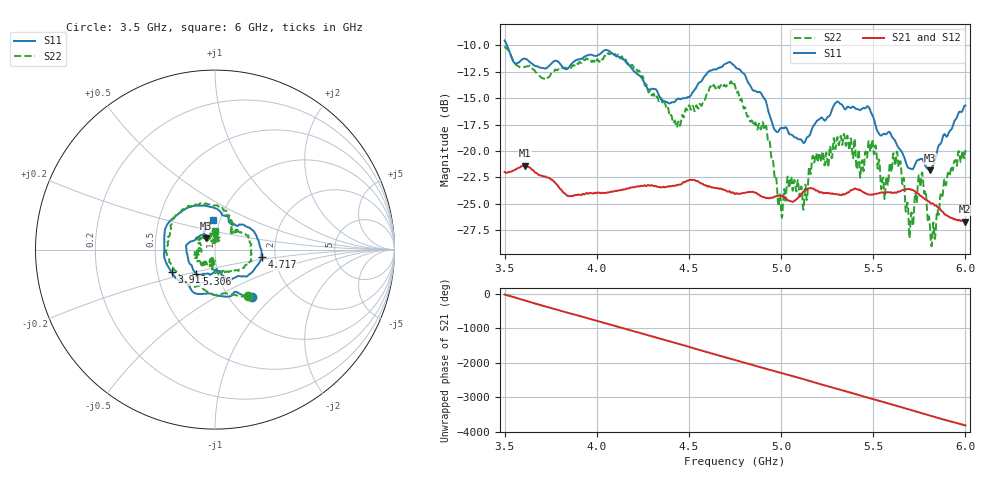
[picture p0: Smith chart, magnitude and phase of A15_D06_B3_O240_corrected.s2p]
! Created with skrf 1.9.0 (http://scikit-rf.org).
# Hz S RI R 50.0
!freq ReS11 ImS11 ReS21 ImS21 ReS12 ImS12 ReS22 ImS22
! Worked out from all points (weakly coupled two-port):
!   1601 points, 3.5 GHz to 6 GHz, reference 50 ohm
!   highest |S21| = -21.39 dB at 3.611 GHz (marker M1); lowest = -26.7 dB at 5.995 GHz (marker M2)
!   lowest |S11| = -21.9 dB at 5.808 GHz (marker M3), VSWR 1.18, Z = 44.9 + j5.73 ohm
!   |S11| at or under -10 dB: 3.513 GHz to end of sweep
!   |S22| runs from -29.0 to -10.1 dB; largest |S21 - S12| = 0.00091
!   S11 on the Smith chart (normalised r, x): 3.5 GHz: 1.26, -0.75; 3.913 GHz: 0.59, -0.16; 4.717 GHz: 1.70, -0.15; 5.306 GHz: 0.78, -0.22; 6 GHz: 0.93, +0.31
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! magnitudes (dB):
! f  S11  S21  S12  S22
! 3.5 GHz  -9.5  -22.0  -22.0  -10.1
! 3.611 GHz  -11.3  -21.4  -21.4  -12.0
! 3.913 GHz  -11.3  -24.2  -24.1  -11.6
! 3.917 GHz  -11.3  -24.2  -24.1  -11.7
! 4.127 GHz  -11.1  -23.7  -23.7  -11.2
! 4.334 GHz  -14.6  -23.4  -23.4  -15.2
! 4.442 GHz  -15.0  -23.2  -23.2  -17.2
! 4.717 GHz  -11.6  -23.8  -23.9  -13.6
! 4.75 GHz  -12.0  -24.1  -24.0  -13.8
! 4.911 GHz  -15.0  -24.4  -24.4  -18.0
! 4.995 GHz  -17.9  -24.3  -24.2  -24.1
! 5.045 GHz  -18.4  -24.7  -24.7  -23.5
! 5.13 GHz  -19.1  -23.8  -23.7  -23.4
! 5.167 GHz  -17.9  -23.6  -23.5  -21.0
! 5.306 GHz  -15.3  -24.1  -24.1  -18.7
! 5.584 GHz  -18.2  -23.9  -23.9  -22.4
! 5.638 GHz  -19.7  -23.9  -23.8  -21.5
! 5.705 GHz  -21.7  -23.7  -23.6  -26.2
! 5.759 GHz  -20.8  -24.3  -24.2  -23.0
! 5.808 GHz  -21.9  -24.9  -24.9  -27.2
! 5.995 GHz  -15.7  -26.7  -26.6  -20.7
! 6 GHz  -15.7  -26.7  -26.6  -19.9
